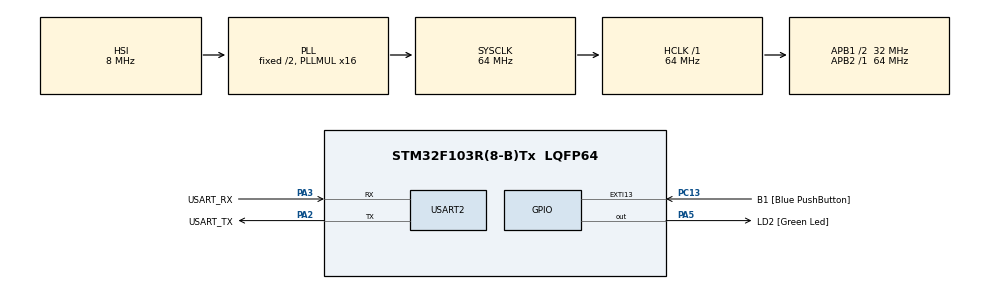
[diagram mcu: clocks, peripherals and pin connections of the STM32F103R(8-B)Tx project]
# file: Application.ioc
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IWDG.Prescaler=IWDG_PRESCALER_256
Mcu.Family=STM32F1
Mcu.Name=STM32F103R(8-B)Tx
Mcu.Package=LQFP64
NVIC.EXTI15_10_IRQn=true\:0\:0\:false\:false\:true\:true\:true\:true
NVIC.PriorityGroup=NVIC_PRIORITYGROUP_4
PA13.GPIO_Label=TMS
PA13.Mode=Serial_Wire
PA13.Signal=SYS_JTMS-SWDIO
PA14.GPIO_Label=TCK
PA14.Mode=Serial_Wire
PA14.Signal=SYS_JTCK-SWCLK
PA2.GPIO_Label=USART_TX
PA2.GPIO_Mode=GPIO_MODE_AF_PP
PA2.GPIO_PuPd=GPIO_NOPULL
PA2.GPIO_Speed=GPIO_SPEED_FREQ_LOW
PA2.Mode=Asynchronous
PA2.Signal=USART2_TX
PA3.GPIO_Label=USART_RX
PA3.GPIO_Mode=GPIO_MODE_AF_PP
PA3.GPIO_PuPd=GPIO_NOPULL
PA3.GPIO_Speed=GPIO_SPEED_FREQ_LOW
PA3.Mode=Asynchronous
PA3.Signal=USART2_RX
PA5.GPIO_Label=LD2 [Green Led]
PA5.GPIO_ModeDefaultOutputPP=GPIO_MODE_OUTPUT_PP
PA5.GPIO_PuPd=GPIO_NOPULL
PA5.GPIO_Speed=GPIO_SPEED_FREQ_LOW
PA5.Signal=GPIO_Output
PB3.Signal=SYS_JTDO-TRACESWO
PC13-TAMPER-RTC.GPIO_Label=B1 [Blue PushButton]
PC13-TAMPER-RTC.GPIO_PuPd=GPIO_NOPULL
PC13-TAMPER-RTC.Signal=GPXTI13
PC14-OSC32_IN.Mode=LSE-External-Oscillator
PC14-OSC32_IN.Signal=RCC_OSC32_IN
PC15-OSC32_OUT.Mode=LSE-External-Oscillator
PC15-OSC32_OUT.Signal=RCC_OSC32_OUT
PD0-OSC_IN.Mode=HSE-External-Clock-Source
PD0-OSC_IN.Signal=RCC_OSC_IN
PD1-OSC_OUT.Mode=HSE-External-Clock-Source
PD1-OSC_OUT.Signal=RCC_OSC_OUT
ProjectManager.HeapSize=0x200
ProjectManager.StackSize=0x400
ProjectManager.TargetToolchain=CMake
RCC.AHBFreq_Value=64000000
RCC.APB1CLKDivider=RCC_HCLK_DIV2
RCC.APB1Freq_Value=32000000
RCC.APB1TimFreq_Value=64000000
RCC.APB2Freq_Value=64000000
RCC.APB2TimFreq_Value=64000000
RCC.HCLKFreq_Value=64000000
RCC.PLLMUL=RCC_PLL_MUL16
RCC.RTCClockSelection=RCC_RTCCLKSOURCE_LSE
RCC.SYSCLKFreq_VALUE=64000000
RCC.SYSCLKSource=RCC_SYSCLKSOURCE_PLLCLK
RCC.USBFreq_Value=64000000
USART2.VirtualMode=VM_ASYNC
VP_IWDG_VS_IWDG.Mode=IWDG_Activate
board=NUCLEO-F103RB

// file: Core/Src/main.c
/* USER CODE BEGIN Header */
#ifdef DEBUG
#warning "DEBUG BUILD"
#endif
/**
  ******************************************************************************
  * @file           : main.c
  * @brief          : Main program body
  ******************************************************************************
  * @attention
  *
  * Copyright (c) 2026 STMicroelectronics.
  * All rights reserved.
  *
  * This software is licensed under terms that can be found in the LICENSE file
  * in the root directory of this software component.
  * If no LICENSE file comes with this software, it is provided AS-IS.
  *
  ******************************************************************************
  */
/* USER CODE END Header */
#include "main.h"

/* USER CODE BEGIN Includes */
#include "debug.h"
#ifdef DEBUG
#include "printf-stdarg.c"
#endif
#include "startup_confirm.h"
/* USER CODE END Includes */

/* USER CODE BEGIN PD */
#define APP_VERSION_MAJOR 0
#define APP_VERSION_MINOR 1
/* USER CODE END PD */

// IWDG_HandleTypeDef hiwdg;

UART_HandleTypeDef huart2;

/* USER CODE BEGIN PV */
const uint8_t App_Version[2] = { APP_VERSION_MAJOR, APP_VERSION_MINOR };
/* USER CODE END PV */

void SystemClock_Config(void);
static void MX_GPIO_Init(void);
static void MX_USART2_UART_Init(void);
// static void MX_IWDG_Init(void);
/* USER CODE BEGIN PFP */
void Task_App_BlinkLED(void);
#ifdef DEBUG
int uart_putchar(int c);
#endif
/* USER CODE END PFP */

int main(void)
{

  /* USER CODE BEGIN 1 */
  volatile uint32_t vtor = SCB->VTOR;
  //  SCB->VTOR = 0x08006000U; // slot a
  //  SCB->VTOR = 0x08012000; // slot b

  /* USER CODE END 1 */

  /* MCU Configuration--------------------------------------------------------*/

  /* Reset of all peripherals, Initializes the Flash interface and the Systick. */
  HAL_Init();

  /* Configure the system clock */
  SystemClock_Config();

  /* Initialize all configured peripherals */
  MX_GPIO_Init();
  MX_USART2_UART_Init();
  /* USER CODE BEGIN 2 */
  StartupConfirm(App_Version[0], App_Version[1]); // add after any checks
  DEBUG_PRINTF("Starting application (%d.%d)\n", App_Version[0], App_Version[1]);
  /* USER CODE END 2 */

  /* Infinite loop */
  /* USER CODE BEGIN WHILE */
  while (1)
  {
    // HAL_IWDG_Refresh(&hiwdg);
    Task_App_BlinkLED();
    /* USER CODE END WHILE */

  }
}

void SystemClock_Config(void)
{
  RCC_OscInitTypeDef RCC_OscInitStruct = {0};
  RCC_ClkInitTypeDef RCC_ClkInitStruct = {0};

  /** Initializes the RCC Oscillators according to the specified parameters
  * in the RCC_OscInitTypeDef structure.
  */
  RCC_OscInitStruct.OscillatorType = RCC_OSCILLATORTYPE_HSI|RCC_OSCILLATORTYPE_LSI;
  RCC_OscInitStruct.HSIState = RCC_HSI_ON;
  RCC_OscInitStruct.HSICalibrationValue = RCC_HSICALIBRATION_DEFAULT;
  // RCC_OscInitStruct.LSIState = RCC_LSI_ON; // for iwdg
  RCC_OscInitStruct.PLL.PLLState = RCC_PLL_ON;
  RCC_OscInitStruct.PLL.PLLSource = RCC_PLLSOURCE_HSI_DIV2;
  RCC_OscInitStruct.PLL.PLLMUL = RCC_PLL_MUL16;
  if (HAL_RCC_OscConfig(&RCC_OscInitStruct) != HAL_OK)
  {
    Error_Handler();
  }

  /** Initializes the CPU, AHB and APB buses clocks
  */
  RCC_ClkInitStruct.ClockType = RCC_CLOCKTYPE_HCLK|RCC_CLOCKTYPE_SYSCLK
                              |RCC_CLOCKTYPE_PCLK1|RCC_CLOCKTYPE_PCLK2;
  RCC_ClkInitStruct.SYSCLKSource = RCC_SYSCLKSOURCE_PLLCLK;
  RCC_ClkInitStruct.AHBCLKDivider = RCC_SYSCLK_DIV1;
  RCC_ClkInitStruct.APB1CLKDivider = RCC_HCLK_DIV2;
  RCC_ClkInitStruct.APB2CLKDivider = RCC_HCLK_DIV1;

  if (HAL_RCC_ClockConfig(&RCC_ClkInitStruct, FLASH_LATENCY_2) != HAL_OK)
  {
    Error_Handler();
  }
}

// static void MX_IWDG_Init(void)
// {

//   /* USER CODE BEGIN IWDG_Init 0 */

//   /* USER CODE END IWDG_Init 0 */

//   /* USER CODE BEGIN IWDG_Init 1 */

//   /* USER CODE END IWDG_Init 1 */
//   hiwdg.Instance = IWDG;
//   hiwdg.Init.Prescaler = IWDG_PRESCALER_256;
//   hiwdg.Init.Reload = 4095;
//   if (HAL_IWDG_Init(&hiwdg) != HAL_OK)
//   {
//     Error_Handler();
//   }
//   /* USER CODE BEGIN IWDG_Init 2 */

//   /* USER CODE END IWDG_Init 2 */

// }

static void MX_USART2_UART_Init(void)
{

  huart2.Instance = USART2;
  huart2.Init.BaudRate = 115200;
  huart2.Init.WordLength = UART_WORDLENGTH_8B;
  huart2.Init.StopBits = UART_STOPBITS_1;
  huart2.Init.Parity = UART_PARITY_NONE;
  huart2.Init.Mode = UART_MODE_TX_RX;
  huart2.Init.HwFlowCtl = UART_HWCONTROL_NONE;
  huart2.Init.OverSampling = UART_OVERSAMPLING_16;
  if (HAL_UART_Init(&huart2) != HAL_OK)
  {
    Error_Handler();
  }

}

static void MX_GPIO_Init(void)
{
  GPIO_InitTypeDef GPIO_InitStruct = {0};

  /* GPIO Ports Clock Enable */
  __HAL_RCC_GPIOC_CLK_ENABLE();
  __HAL_RCC_GPIOD_CLK_ENABLE();
  __HAL_RCC_GPIOA_CLK_ENABLE();
  __HAL_RCC_GPIOB_CLK_ENABLE();

  /*Configure GPIO pin Output Level */
  HAL_GPIO_WritePin(LD2_GPIO_Port, LD2_Pin, GPIO_PIN_RESET);

  /*Configure GPIO pin : B1_Pin */
  GPIO_InitStruct.Pin = B1_Pin;
  GPIO_InitStruct.Mode = GPIO_MODE_IT_RISING;
  GPIO_InitStruct.Pull = GPIO_NOPULL;
  HAL_GPIO_Init(B1_GPIO_Port, &GPIO_InitStruct);

  /*Configure GPIO pin : LD2_Pin */
  GPIO_InitStruct.Pin = LD2_Pin;
  GPIO_InitStruct.Mode = GPIO_MODE_OUTPUT_PP;
  GPIO_InitStruct.Pull = GPIO_NOPULL;
  GPIO_InitStruct.Speed = GPIO_SPEED_FREQ_LOW;
  HAL_GPIO_Init(LD2_GPIO_Port, &GPIO_InitStruct);

  /* EXTI interrupt init*/
  HAL_NVIC_SetPriority(EXTI15_10_IRQn, 0, 0);
  HAL_NVIC_EnableIRQ(EXTI15_10_IRQn);

}

/* USER CODE BEGIN 4 */
void Task_App_BlinkLED(void) {
  HAL_GPIO_WritePin(LD2_GPIO_Port, LD2_Pin, GPIO_PIN_SET);
  HAL_Delay(500);
  HAL_GPIO_WritePin(LD2_GPIO_Port, LD2_Pin, GPIO_PIN_RESET);
  HAL_Delay(500);
}

#ifdef DEBUG
int uart_putchar(int c)
{
  HAL_UART_Transmit(&huart2, (uint8_t *)&c, 1, HAL_MAX_DELAY);
  return c;
}
#endif
/* USER CODE END 4 */

void Error_Handler(void)
{
  __disable_irq();
  while (1)
  {
  }
}
